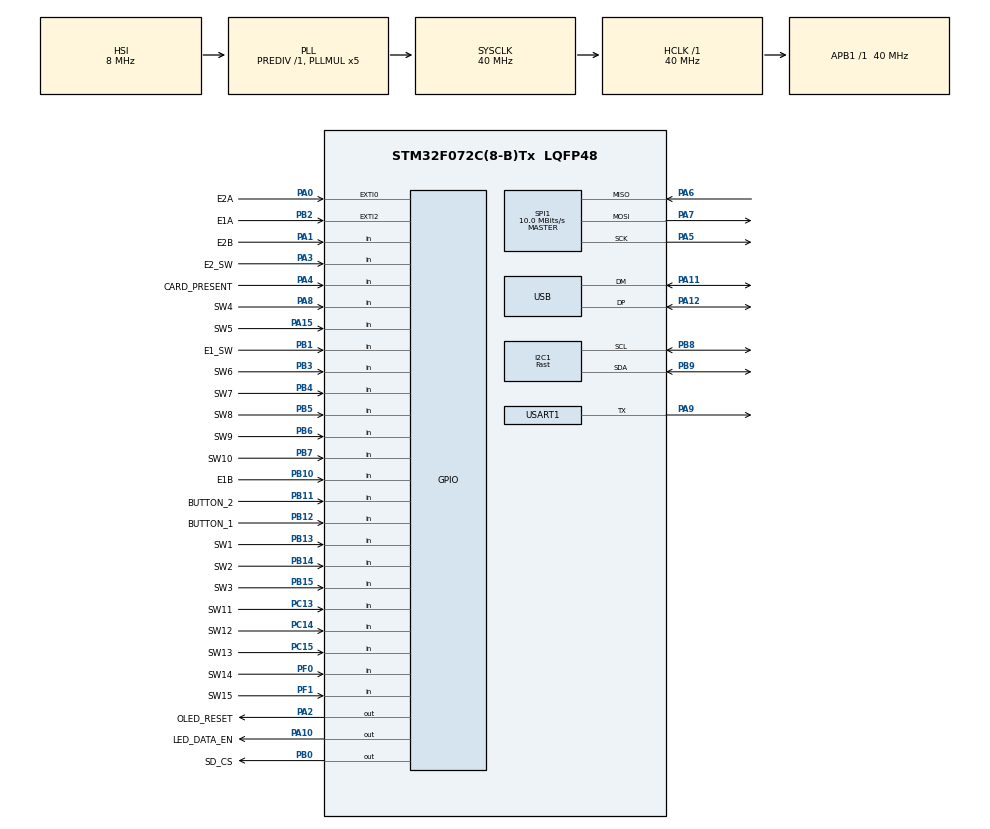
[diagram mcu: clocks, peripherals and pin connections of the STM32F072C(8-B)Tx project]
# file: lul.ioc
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FATFS._CODE_PAGE=1252
FATFS._FS_LOCK=0
FATFS._FS_NORTC=1
FATFS._LFN_UNICODE=0
FATFS._MAX_LFN=32
FATFS._USE_FIND=0
FATFS._USE_LFN=3
FATFS._USE_MKFS=0
FREERTOS.HEAP_NUMBER=1
FREERTOS.MEMORY_ALLOCATION=0
FREERTOS.Tasks01=kb_scan,0,256,kb_scan_task,Default,NULL,Dynamic,NULL,NULL
FREERTOS.configMINIMAL_STACK_SIZE=128
FREERTOS.configTOTAL_HEAP_SIZE=5100
I2C1.I2C_Speed_Mode=I2C_Fast
I2C1.Speed=400
I2C1.Timing=0x0000020B
IWDG.Prescaler=IWDG_PRESCALER_32
IWDG.Reload=2000
IWDG.Window=2000
Mcu.Family=STM32F0
Mcu.Name=STM32F072C(8-B)Tx
Mcu.Package=LQFP48
NVIC.EXTI0_1_IRQn=true\:3\:0\:false\:false\:true\:true\:true
NVIC.EXTI2_3_IRQn=true\:3\:0\:false\:false\:true\:true\:true
NVIC.TIM6_DAC_IRQn=true\:0\:0\:false\:false\:true\:false\:true
NVIC.TimeBase=TIM6_DAC_IRQn
NVIC.TimeBaseIP=TIM6
NVIC.USB_IRQn=true\:3\:0\:false\:false\:true\:true\:true
PA0.GPIO_Label=E2A
PA0.GPIO_ModeDefaultEXTI=GPIO_MODE_IT_RISING_FALLING
PA0.GPIO_PuPd=GPIO_PULLUP
PA0.Signal=GPXTI0
PA1.GPIO_Label=E2B
PA1.GPIO_PuPd=GPIO_PULLUP
PA1.Signal=GPIO_Input
PA10.GPIO_Label=LED_DATA_EN
PA10.Signal=GPIO_Output
PA11.Mode=Device
PA11.Signal=USB_DM
PA12.Mode=Device
PA12.Signal=USB_DP
PA13.Mode=Serial_Wire
PA13.Signal=SYS_SWDIO
PA14.Mode=Serial_Wire
PA14.Signal=SYS_SWCLK
PA15.GPIO_Label=SW5
PA15.GPIO_PuPd=GPIO_PULLUP
PA15.Signal=GPIO_Input
PA2.GPIO_Label=OLED_RESET
PA2.PinState=GPIO_PIN_RESET
PA2.Signal=GPIO_Output
PA3.GPIO_Label=E2_SW
PA3.GPIO_PuPd=GPIO_PULLUP
PA3.Signal=GPIO_Input
PA4.GPIO_Label=CARD_PRESENT
PA4.GPIO_PuPd=GPIO_PULLUP
PA4.Signal=GPIO_Input
PA5.Mode=Full_Duplex_Master
PA5.Signal=SPI1_SCK
PA6.Mode=Full_Duplex_Master
PA6.Signal=SPI1_MISO
PA7.Mode=Full_Duplex_Master
PA7.Signal=SPI1_MOSI
PA8.GPIO_Label=SW4
PA8.GPIO_PuPd=GPIO_PULLUP
PA8.Signal=GPIO_Input
PA9.Mode=Half_duplex(single_wire_mode)
PA9.Signal=USART1_TX
PB0.GPIO_Label=SD_CS
PB0.GPIO_PuPd=GPIO_NOPULL
PB0.PinState=GPIO_PIN_SET
PB0.Signal=GPIO_Output
PB1.GPIO_Label=E1_SW
PB1.GPIO_PuPd=GPIO_PULLUP
PB1.Signal=GPIO_Input
PB10.GPIO_Label=E1B
PB10.GPIO_PuPd=GPIO_PULLUP
PB10.Signal=GPIO_Input
PB11.GPIO_Label=BUTTON_2
PB11.GPIO_PuPd=GPIO_PULLUP
PB11.Signal=GPIO_Input
PB12.GPIO_Label=BUTTON_1
PB12.GPIO_PuPd=GPIO_PULLUP
PB12.Signal=GPIO_Input
PB13.GPIO_Label=SW1
PB13.GPIO_PuPd=GPIO_PULLUP
PB13.Signal=GPIO_Input
PB14.GPIO_Label=SW2
PB14.GPIO_PuPd=GPIO_PULLUP
PB14.Signal=GPIO_Input
PB15.GPIO_Label=SW3
PB15.GPIO_PuPd=GPIO_PULLUP
PB15.Signal=GPIO_Input
PB2.GPIO_Label=E1A
PB2.GPIO_ModeDefaultEXTI=GPIO_MODE_IT_RISING_FALLING
PB2.GPIO_PuPd=GPIO_PULLUP
PB2.Signal=GPXTI2
PB3.GPIO_Label=SW6
PB3.GPIO_PuPd=GPIO_PULLUP
PB3.Signal=GPIO_Input
PB4.GPIO_Label=SW7
PB4.GPIO_PuPd=GPIO_PULLUP
PB4.Signal=GPIO_Input
PB5.GPIO_Label=SW8
PB5.GPIO_PuPd=GPIO_PULLUP
PB5.Signal=GPIO_Input
PB6.GPIO_Label=SW9
PB6.GPIO_PuPd=GPIO_PULLUP
PB6.Signal=GPIO_Input
PB7.GPIO_Label=SW10
PB7.GPIO_PuPd=GPIO_PULLUP
PB7.Signal=GPIO_Input
PB8.Mode=I2C
PB8.Signal=I2C1_SCL
PB9.Mode=I2C
PB9.Signal=I2C1_SDA
PC13.GPIO_Label=SW11
PC13.GPIO_PuPd=GPIO_PULLUP
PC13.Signal=GPIO_Input
PC14-OSC32_IN.GPIO_Label=SW12
PC14-OSC32_IN.GPIO_PuPd=GPIO_PULLUP
PC14-OSC32_IN.Signal=GPIO_Input
PC15-OSC32_OUT.GPIO_Label=SW13
PC15-OSC32_OUT.GPIO_PuPd=GPIO_PULLUP
PC15-OSC32_OUT.Signal=GPIO_Input
PF0-OSC_IN.GPIO_Label=SW14
PF0-OSC_IN.GPIO_PuPd=GPIO_PULLUP
PF0-OSC_IN.Signal=GPIO_Input
PF1-OSC_OUT.GPIO_Label=SW15
PF1-OSC_OUT.GPIO_PuPd=GPIO_PULLUP
PF1-OSC_OUT.Signal=GPIO_Input
ProjectManager.HeapSize=0x400
ProjectManager.StackSize=0x600
ProjectManager.TargetToolchain=MDK-ARM V5
RCC.AHBFreq_Value=40000000
RCC.APB1Freq_Value=40000000
RCC.APB1TimFreq_Value=40000000
RCC.HCLKFreq_Value=40000000
RCC.PLLMUL=RCC_PLL_MUL5
RCC.SYSCLKFreq_VALUE=40000000
RCC.SYSCLKSource=RCC_SYSCLKSOURCE_PLLCLK
RCC.Usart1ClockSelection=RCC_USART1CLKSOURCE_SYSCLK
SPI1.BaudRatePrescaler=SPI_BAUDRATEPRESCALER_4
SPI1.CalculateBaudRate=10.0 MBits/s
SPI1.DataSize=SPI_DATASIZE_8BIT
SPI1.Direction=SPI_DIRECTION_2LINES
SPI1.Mode=SPI_MODE_MASTER
SPI1.VirtualType=VM_MASTER
USART1.BaudRate=115200
USART1.Mode=MODE_TX
USART1.VirtualMode-Half_duplex(single_wire_mode)=VM_ASYNC
USART1.WordLength=WORDLENGTH_8B
USB_DEVICE.CLASS_NAME_FS=HID
USB_DEVICE.VirtualMode=Hid
USB_DEVICE.VirtualModeFS=Hid_FS
VP_ADC_TempSens_Input.Mode=IN-TempSens
VP_FATFS_VS_Generic.Mode=User_defined
VP_FREERTOS_VS_ENABLE.Mode=Enabled
VP_IWDG_VS_IWDG.Mode=IWDG_Activate
VP_SYS_VS_tim6.Mode=TIM6
VP_USB_DEVICE_VS_USB_DEVICE_HID_FS.Mode=HID_FS
board=lul

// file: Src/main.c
/**
  ******************************************************************************
  * File Name          : main.c
  * Description        : Main program body
  ******************************************************************************
  * This notice applies to any and all portions of this file
  * that are not between comment pairs USER CODE BEGIN and
  * USER CODE END. Other portions of this file, whether
  * inserted by the user or by software development tools
  * are owned by their respective copyright owners.
  *
  * Copyright (c) 2017 STMicroelectronics International N.V.
  * All rights reserved.
  *
  * Redistribution and use in source and binary forms, with or without
  * modification, are permitted, provided that the following conditions are met:
  *
  * 1. Redistribution of source code must retain the above copyright notice,
  *    this list of conditions and the following disclaimer.
  * 2. Redistributions in binary form must reproduce the above copyright notice,
  *    this list of conditions and the following disclaimer in the documentation
  *    and/or other materials provided with the distribution.
  * 3. Neither the name of STMicroelectronics nor the names of other
  *    contributors to this software may be used to endorse or promote products
  *    derived from this software without specific written permission.
  * 4. This software, including modifications and/or derivative works of this
  *    software, must execute solely and exclusively on microcontroller or
  *    microprocessor devices manufactured by or for STMicroelectronics.
  * 5. Redistribution and use of this software other than as permitted under
  *    this license is void and will automatically terminate your rights under
  *    this license.
  *
  * THIS SOFTWARE IS PROVIDED BY STMICROELECTRONICS AND CONTRIBUTORS "AS IS"
  * AND ANY EXPRESS, IMPLIED OR STATUTORY WARRANTIES, INCLUDING, BUT NOT
  * LIMITED TO, THE IMPLIED WARRANTIES OF MERCHANTABILITY, FITNESS FOR A
  * PARTICULAR PURPOSE AND NON-INFRINGEMENT OF THIRD PARTY INTELLECTUAL PROPERTY
  * RIGHTS ARE DISCLAIMED TO THE FULLEST EXTENT PERMITTED BY LAW. IN NO EVENT
  * SHALL STMICROELECTRONICS OR CONTRIBUTORS BE LIABLE FOR ANY DIRECT, INDIRECT,
  * INCIDENTAL, SPECIAL, EXEMPLARY, OR CONSEQUENTIAL DAMAGES (INCLUDING, BUT NOT
  * LIMITED TO, PROCUREMENT OF SUBSTITUTE GOODS OR SERVICES; LOSS OF USE, DATA,
  * OR PROFITS; OR BUSINESS INTERRUPTION) HOWEVER CAUSED AND ON ANY THEORY OF
  * LIABILITY, WHETHER IN CONTRACT, STRICT LIABILITY, OR TORT (INCLUDING
  * NEGLIGENCE OR OTHERWISE) ARISING IN ANY WAY OUT OF THE USE OF THIS SOFTWARE,
  * EVEN IF ADVISED OF THE POSSIBILITY OF SUCH DAMAGE.
  *
  ******************************************************************************
  */
#include "main.h"
#include "stm32f0xx_hal.h"
#include "cmsis_os.h"
#include "fatfs.h"
#include "usb_device.h"

/* USER CODE BEGIN Includes */
#include <stdio.h>
#include <string.h>
#include <stdlib.h>
#include "usbd_hid.h"
#include "ssd1306.h"
#include "fonts.h"
#include "neopixel.h"
#include "buttons.h"
#include "keyboard.h"
#include "parser.h"
#include "shared.h"
#include "my_tasks.h"
#include "animations.h"

/* USER CODE END Includes */

ADC_HandleTypeDef hadc;

I2C_HandleTypeDef hi2c1;

IWDG_HandleTypeDef hiwdg;

SPI_HandleTypeDef hspi1;

UART_HandleTypeDef huart1;

osThreadId kb_scanHandle;

/* USER CODE BEGIN PV */
/* Private variables ---------------------------------------------------------*/
char no_sd[] = "Please Insert SD card";
/* USER CODE END PV */

void SystemClock_Config(void);
static void MX_GPIO_Init(void);
static void MX_USART1_UART_Init(void);
static void MX_SPI1_Init(void);
static void MX_I2C1_Init(void);
static void MX_ADC_Init(void);
static void MX_IWDG_Init(void);
void kb_scan_task(void const * argument);

/* USER CODE BEGIN PFP */
/* Private function prototypes -----------------------------------------------*/

/* USER CODE END PFP */

/* USER CODE BEGIN 0 */
int fputc(int ch, FILE *f)
{
    HAL_UART_Transmit(&huart1, (unsigned char *)&ch, 1, 100);
    return ch;
}
/* USER CODE END 0 */

int main(void)
{

  /* MCU Configuration----------------------------------------------------------*/

  /* Reset of all peripherals, Initializes the Flash interface and the Systick. */
  HAL_Init();

  /* Configure the system clock */
  SystemClock_Config();

  /* Initialize all configured peripherals */
  MX_GPIO_Init();
  MX_USART1_UART_Init();
  MX_SPI1_Init();
  MX_I2C1_Init();
  MX_ADC_Init();
  MX_IWDG_Init();

  /* Create the thread(s) */
  /* definition and creation of kb_scan */
  osThreadDef(kb_scan, kb_scan_task, osPriorityNormal, 0, 256);
  kb_scanHandle = osThreadCreate(osThread(kb_scan), NULL);

  /* USER CODE BEGIN RTOS_THREADS */
  /* add threads, ... */
  // kb_scan_task should have 256 byte
  osThreadDef(keypress_task, keypress_task_start, osPriorityAboveNormal, 0, 512);
  osThreadCreate(osThread(keypress_task), NULL);
  osThreadDef(animation_task, animation_task_start, osPriorityBelowNormal, 0, 256);
  osThreadCreate(osThread(animation_task), NULL);
  /* USER CODE END RTOS_THREADS */

  /* Start scheduler */
  osKernelStart();

  /* We should never get here as control is now taken by the scheduler */

  /* Infinite loop */
  while (1)
  {

  }

}

/** System Clock Configuration
*/
void SystemClock_Config(void)
{

  RCC_OscInitTypeDef RCC_OscInitStruct;
  RCC_ClkInitTypeDef RCC_ClkInitStruct;
  RCC_PeriphCLKInitTypeDef PeriphClkInit;

    /**Initializes the CPU, AHB and APB busses clocks
    */
  RCC_OscInitStruct.OscillatorType = RCC_OSCILLATORTYPE_HSI|RCC_OSCILLATORTYPE_HSI14
                              |RCC_OSCILLATORTYPE_HSI48|RCC_OSCILLATORTYPE_LSI;
  RCC_OscInitStruct.HSIState = RCC_HSI_ON;
  RCC_OscInitStruct.HSI48State = RCC_HSI48_ON;
  RCC_OscInitStruct.HSI14State = RCC_HSI14_ON;
  RCC_OscInitStruct.HSICalibrationValue = 16;
  RCC_OscInitStruct.HSI14CalibrationValue = 16;
  RCC_OscInitStruct.LSIState = RCC_LSI_ON;
  RCC_OscInitStruct.PLL.PLLState = RCC_PLL_ON;
  RCC_OscInitStruct.PLL.PLLSource = RCC_PLLSOURCE_HSI;
  RCC_OscInitStruct.PLL.PLLMUL = RCC_PLL_MUL5;
  RCC_OscInitStruct.PLL.PREDIV = RCC_PREDIV_DIV1;
  if (HAL_RCC_OscConfig(&RCC_OscInitStruct) != HAL_OK)
  {
    _Error_Handler(__FILE__, __LINE__);
  }

    /**Initializes the CPU, AHB and APB busses clocks
    */
  RCC_ClkInitStruct.ClockType = RCC_CLOCKTYPE_HCLK|RCC_CLOCKTYPE_SYSCLK
                              |RCC_CLOCKTYPE_PCLK1;
  RCC_ClkInitStruct.SYSCLKSource = RCC_SYSCLKSOURCE_PLLCLK;
  RCC_ClkInitStruct.AHBCLKDivider = RCC_SYSCLK_DIV1;
  RCC_ClkInitStruct.APB1CLKDivider = RCC_HCLK_DIV1;

  if (HAL_RCC_ClockConfig(&RCC_ClkInitStruct, FLASH_LATENCY_1) != HAL_OK)
  {
    _Error_Handler(__FILE__, __LINE__);
  }

  PeriphClkInit.PeriphClockSelection = RCC_PERIPHCLK_USB|RCC_PERIPHCLK_USART1
                              |RCC_PERIPHCLK_I2C1;
  PeriphClkInit.Usart1ClockSelection = RCC_USART1CLKSOURCE_SYSCLK;
  PeriphClkInit.I2c1ClockSelection = RCC_I2C1CLKSOURCE_HSI;
  PeriphClkInit.UsbClockSelection = RCC_USBCLKSOURCE_HSI48;

  if (HAL_RCCEx_PeriphCLKConfig(&PeriphClkInit) != HAL_OK)
  {
    _Error_Handler(__FILE__, __LINE__);
  }

    /**Configure the Systick interrupt time
    */
  HAL_SYSTICK_Config(HAL_RCC_GetHCLKFreq()/1000);

    /**Configure the Systick
    */
  HAL_SYSTICK_CLKSourceConfig(SYSTICK_CLKSOURCE_HCLK);

  /* SysTick_IRQn interrupt configuration */
  HAL_NVIC_SetPriority(SysTick_IRQn, 3, 0);
}

/* ADC init function */
static void MX_ADC_Init(void)
{

  ADC_ChannelConfTypeDef sConfig;

    /**Configure the global features of the ADC (Clock, Resolution, Data Alignment and number of conversion)
    */
  hadc.Instance = ADC1;
  hadc.Init.ClockPrescaler = ADC_CLOCK_ASYNC_DIV1;
  hadc.Init.Resolution = ADC_RESOLUTION_12B;
  hadc.Init.DataAlign = ADC_DATAALIGN_RIGHT;
  hadc.Init.ScanConvMode = ADC_SCAN_DIRECTION_FORWARD;
  hadc.Init.EOCSelection = ADC_EOC_SINGLE_CONV;
  hadc.Init.LowPowerAutoWait = DISABLE;
  hadc.Init.LowPowerAutoPowerOff = DISABLE;
  hadc.Init.ContinuousConvMode = DISABLE;
  hadc.Init.DiscontinuousConvMode = DISABLE;
  hadc.Init.ExternalTrigConv = ADC_SOFTWARE_START;
  hadc.Init.ExternalTrigConvEdge = ADC_EXTERNALTRIGCONVEDGE_NONE;
  hadc.Init.DMAContinuousRequests = DISABLE;
  hadc.Init.Overrun = ADC_OVR_DATA_PRESERVED;
  if (HAL_ADC_Init(&hadc) != HAL_OK)
  {
    _Error_Handler(__FILE__, __LINE__);
  }

    /**Configure for the selected ADC regular channel to be converted.
    */
  sConfig.Channel = ADC_CHANNEL_TEMPSENSOR;
  sConfig.Rank = ADC_RANK_CHANNEL_NUMBER;
  sConfig.SamplingTime = ADC_SAMPLETIME_1CYCLE_5;
  if (HAL_ADC_ConfigChannel(&hadc, &sConfig) != HAL_OK)
  {
    _Error_Handler(__FILE__, __LINE__);
  }

}

/* I2C1 init function */
static void MX_I2C1_Init(void)
{

  hi2c1.Instance = I2C1;
  hi2c1.Init.Timing = 0x0000020B;
  hi2c1.Init.OwnAddress1 = 0;
  hi2c1.Init.AddressingMode = I2C_ADDRESSINGMODE_7BIT;
  hi2c1.Init.DualAddressMode = I2C_DUALADDRESS_DISABLE;
  hi2c1.Init.OwnAddress2 = 0;
  hi2c1.Init.OwnAddress2Masks = I2C_OA2_NOMASK;
  hi2c1.Init.GeneralCallMode = I2C_GENERALCALL_DISABLE;
  hi2c1.Init.NoStretchMode = I2C_NOSTRETCH_DISABLE;
  if (HAL_I2C_Init(&hi2c1) != HAL_OK)
  {
    _Error_Handler(__FILE__, __LINE__);
  }

    /**Configure Analogue filter
    */
  if (HAL_I2CEx_ConfigAnalogFilter(&hi2c1, I2C_ANALOGFILTER_ENABLE) != HAL_OK)
  {
    _Error_Handler(__FILE__, __LINE__);
  }

    /**Configure Digital filter
    */
  if (HAL_I2CEx_ConfigDigitalFilter(&hi2c1, 0) != HAL_OK)
  {
    _Error_Handler(__FILE__, __LINE__);
  }

}

/* IWDG init function */
static void MX_IWDG_Init(void)
{

  hiwdg.Instance = IWDG;
  hiwdg.Init.Prescaler = IWDG_PRESCALER_32;
  hiwdg.Init.Window = 3000;
  hiwdg.Init.Reload = 3000;
  if (HAL_IWDG_Init(&hiwdg) != HAL_OK)
  {
    _Error_Handler(__FILE__, __LINE__);
  }

}

/* SPI1 init function */
static void MX_SPI1_Init(void)
{

  /* SPI1 parameter configuration*/
  hspi1.Instance = SPI1;
  hspi1.Init.Mode = SPI_MODE_MASTER;
  hspi1.Init.Direction = SPI_DIRECTION_2LINES;
  hspi1.Init.DataSize = SPI_DATASIZE_8BIT;
  hspi1.Init.CLKPolarity = SPI_POLARITY_LOW;
  hspi1.Init.CLKPhase = SPI_PHASE_1EDGE;
  hspi1.Init.NSS = SPI_NSS_SOFT;
  hspi1.Init.BaudRatePrescaler = SPI_BAUDRATEPRESCALER_4;
  hspi1.Init.FirstBit = SPI_FIRSTBIT_MSB;
  hspi1.Init.TIMode = SPI_TIMODE_DISABLE;
  hspi1.Init.CRCCalculation = SPI_CRCCALCULATION_DISABLE;
  hspi1.Init.CRCPolynomial = 7;
  hspi1.Init.CRCLength = SPI_CRC_LENGTH_DATASIZE;
  hspi1.Init.NSSPMode = SPI_NSS_PULSE_ENABLE;
  if (HAL_SPI_Init(&hspi1) != HAL_OK)
  {
    _Error_Handler(__FILE__, __LINE__);
  }

}

/* USART1 init function */
static void MX_USART1_UART_Init(void)
{

  huart1.Instance = USART1;
  huart1.Init.BaudRate = 115200;
  huart1.Init.WordLength = UART_WORDLENGTH_8B;
  huart1.Init.StopBits = UART_STOPBITS_1;
  huart1.Init.Parity = UART_PARITY_NONE;
  huart1.Init.Mode = UART_MODE_TX;
  huart1.Init.HwFlowCtl = UART_HWCONTROL_NONE;
  huart1.Init.OverSampling = UART_OVERSAMPLING_16;
  huart1.Init.OneBitSampling = UART_ONE_BIT_SAMPLE_DISABLE;
  huart1.AdvancedInit.AdvFeatureInit = UART_ADVFEATURE_NO_INIT;
  if (HAL_HalfDuplex_Init(&huart1) != HAL_OK)
  {
    _Error_Handler(__FILE__, __LINE__);
  }

}

/** Configure pins as
        * Analog
        * Input
        * Output
        * EVENT_OUT
        * EXTI
*/
static void MX_GPIO_Init(void)
{

  GPIO_InitTypeDef GPIO_InitStruct;

  /* GPIO Ports Clock Enable */
  __HAL_RCC_GPIOC_CLK_ENABLE();
  __HAL_RCC_GPIOF_CLK_ENABLE();
  __HAL_RCC_GPIOA_CLK_ENABLE();
  __HAL_RCC_GPIOB_CLK_ENABLE();

  /*Configure GPIO pin Output Level */
  HAL_GPIO_WritePin(GPIOA, OLED_RESET_Pin|LED_DATA_EN_Pin, GPIO_PIN_RESET);

  /*Configure GPIO pin Output Level */
  HAL_GPIO_WritePin(SD_CS_GPIO_Port, SD_CS_Pin, GPIO_PIN_SET);

  /*Configure GPIO pins : SW11_Pin SW12_Pin SW13_Pin */
  GPIO_InitStruct.Pin = SW11_Pin|SW12_Pin|SW13_Pin;
  GPIO_InitStruct.Mode = GPIO_MODE_INPUT;
  GPIO_InitStruct.Pull = GPIO_PULLUP;
  HAL_GPIO_Init(GPIOC, &GPIO_InitStruct);

  /*Configure GPIO pins : SW14_Pin SW15_Pin */
  GPIO_InitStruct.Pin = SW14_Pin|SW15_Pin;
  GPIO_InitStruct.Mode = GPIO_MODE_INPUT;
  GPIO_InitStruct.Pull = GPIO_PULLUP;
  HAL_GPIO_Init(GPIOF, &GPIO_InitStruct);

  /*Configure GPIO pin : E2A_Pin */
  GPIO_InitStruct.Pin = E2A_Pin;
  GPIO_InitStruct.Mode = GPIO_MODE_IT_RISING_FALLING;
  GPIO_InitStruct.Pull = GPIO_PULLUP;
  HAL_GPIO_Init(E2A_GPIO_Port, &GPIO_InitStruct);

  /*Configure GPIO pins : E2B_Pin E2_SW_Pin CARD_PRESENT_Pin SW4_Pin
                           SW5_Pin */
  GPIO_InitStruct.Pin = E2B_Pin|E2_SW_Pin|CARD_PRESENT_Pin|SW4_Pin
                          |SW5_Pin;
  GPIO_InitStruct.Mode = GPIO_MODE_INPUT;
  GPIO_InitStruct.Pull = GPIO_PULLUP;
  HAL_GPIO_Init(GPIOA, &GPIO_InitStruct);

  /*Configure GPIO pins : OLED_RESET_Pin LED_DATA_EN_Pin */
  GPIO_InitStruct.Pin = OLED_RESET_Pin|LED_DATA_EN_Pin;
  GPIO_InitStruct.Mode = GPIO_MODE_OUTPUT_PP;
  GPIO_InitStruct.Pull = GPIO_NOPULL;
  GPIO_InitStruct.Speed = GPIO_SPEED_FREQ_LOW;
  HAL_GPIO_Init(GPIOA, &GPIO_InitStruct);

  /*Configure GPIO pin : SD_CS_Pin */
  GPIO_InitStruct.Pin = SD_CS_Pin;
  GPIO_InitStruct.Mode = GPIO_MODE_OUTPUT_PP;
  GPIO_InitStruct.Pull = GPIO_NOPULL;
  GPIO_InitStruct.Speed = GPIO_SPEED_FREQ_LOW;
  HAL_GPIO_Init(SD_CS_GPIO_Port, &GPIO_InitStruct);

  /*Configure GPIO pins : E1_SW_Pin E1B_Pin BUTTON_2_Pin BUTTON_1_Pin
                           SW1_Pin SW2_Pin SW3_Pin SW6_Pin
                           SW7_Pin SW8_Pin SW9_Pin SW10_Pin */
  GPIO_InitStruct.Pin = E1_SW_Pin|E1B_Pin|BUTTON_2_Pin|BUTTON_1_Pin
                          |SW1_Pin|SW2_Pin|SW3_Pin|SW6_Pin
                          |SW7_Pin|SW8_Pin|SW9_Pin|SW10_Pin;
  GPIO_InitStruct.Mode = GPIO_MODE_INPUT;
  GPIO_InitStruct.Pull = GPIO_PULLUP;
  HAL_GPIO_Init(GPIOB, &GPIO_InitStruct);

  /*Configure GPIO pin : E1A_Pin */
  GPIO_InitStruct.Pin = E1A_Pin;
  GPIO_InitStruct.Mode = GPIO_MODE_IT_RISING_FALLING;
  GPIO_InitStruct.Pull = GPIO_PULLUP;
  HAL_GPIO_Init(E1A_GPIO_Port, &GPIO_InitStruct);

  /* EXTI interrupt init*/
  HAL_NVIC_SetPriority(EXTI0_1_IRQn, 3, 0);
  HAL_NVIC_EnableIRQ(EXTI0_1_IRQn);

  HAL_NVIC_SetPriority(EXTI2_3_IRQn, 3, 0);
  HAL_NVIC_EnableIRQ(EXTI2_3_IRQn);

}

/* kb_scan_task function */
void kb_scan_task(void const * argument)
{
  /* init code for FATFS */
  MX_FATFS_Init();

  /* init code for USB_DEVICE */
  MX_USB_DEVICE_Init();

  /* USER CODE BEGIN 5 */
  mount_result = f_mount(&sd_fs, "", 1);
  HAL_GPIO_WritePin(OLED_RESET_GPIO_Port, OLED_RESET_Pin, GPIO_PIN_RESET);
  HAL_Delay(10);
  HAL_GPIO_WritePin(OLED_RESET_GPIO_Port, OLED_RESET_Pin, GPIO_PIN_SET);
  HAL_Delay(20);
  ssd1306_Init();
  if(mount_result)
  {
    ssd1306_Fill(Black);
    ssd1306_SetCursor(0, 32);
    ssd1306_WriteString(no_sd,Font_6x10,White);
    ssd1306_UpdateScreen();
    spi_set_speed_neopixel();
    while(1)
    {
      HAL_IWDG_Refresh(&hiwdg);
      osDelay(30);
    }
  }
  scan_profiles();
  change_profile(NEXT_PROFILE);
  init_complete = 1;
  /* Infinite loop */
  for(;;)
  {
    HAL_IWDG_Refresh(&hiwdg);
    keyboard_update();
    osDelay(30);
  }
  /* USER CODE END 5 */
}

void HAL_TIM_PeriodElapsedCallback(TIM_HandleTypeDef *htim)
{
  if (htim->Instance == TIM6) {
    HAL_IncTick();
  }
}

void _Error_Handler(char * file, int line)
{
  while(1)
  {
  }
}

/************************ (C) COPYRIGHT STMicroelectronics *****END OF FILE****/
